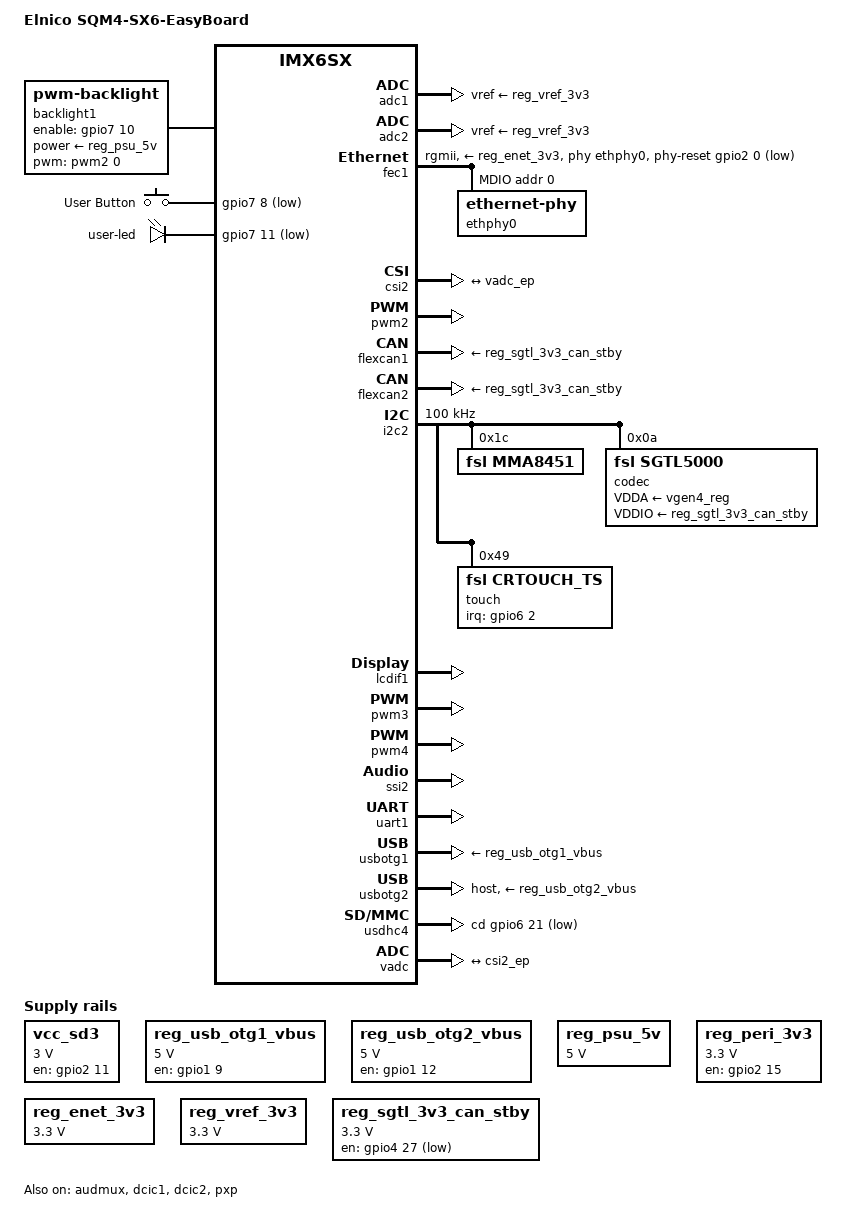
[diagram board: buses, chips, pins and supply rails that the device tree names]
/*
 * Copyright (C) 2014 Freescale Semiconductor, Inc.
 *
 * This program is free software; you can redistribute it and/or modify
 * it under the terms of the GNU General Public License version 2 as
 * published by the Free Software Foundation.
 */

#include "sqm4sx6.dtsi"

/ {
	model = "Elnico SQM4-SX6-EasyBoard";
	compatible = "eln,sqm4sx6-eb", "eln,sqm4sx6", "fsl,imx6sx";

	chosen {
		stdout-path = &uart1;
	};

	backlight1 {
		compatible = "pwm-backlight";
		pwms = <&pwm2 0 5000000>;
		brightness-levels = <0 4 8 16 32 64 128 255>;
		default-brightness-level = <7>;
		power-supply = <&reg_psu_5v>;
		enable-gpios = <&gpio7 10 GPIO_ACTIVE_HIGH>;
	};

	gpio-keys {
		compatible = "gpio-keys";
		pinctrl-names = "default";
		pinctrl-0 = <&pinctrl_gpio_keys>;

		user-button {
			label = "User Button";
			gpios = <&gpio7 8 GPIO_ACTIVE_LOW>;
			linux,code = <KEY_MENU>;
		};
	};

	gpio-leds {
		compatible = "gpio-leds";
		pinctrl-names = "default";
		pinctrl-0 = <&pinctrl_leds>;

		user-led {
			gpios = <&gpio7 11 GPIO_ACTIVE_LOW>;
			linux,default-trigger = "heartbeat";
		};
	};

	regulators {
		compatible = "simple-bus";
		#address-cells = <1>;
		#size-cells = <0>;

		vcc_sd3: regulator@0 {
			compatible = "regulator-fixed";
			reg = <0>;
			pinctrl-names = "default";
			pinctrl-0 = <&pinctrl_vcc_sd3>;
			regulator-name = "VCC_SD3";
			regulator-min-microvolt = <3000000>;
			regulator-max-microvolt = <3000000>;
			gpio = <&gpio2 11 GPIO_ACTIVE_HIGH>;
			enable-active-high;
		};

		reg_usb_otg1_vbus: regulator@1 {
			compatible = "regulator-fixed";
			reg = <1>;
			pinctrl-names = "default";
			pinctrl-0 = <&pinctrl_usb_otg1>;
			regulator-name = "usb_otg1_vbus";
			regulator-min-microvolt = <5000000>;
			regulator-max-microvolt = <5000000>;
			gpio = <&gpio1 9 GPIO_ACTIVE_HIGH>;
			enable-active-high;
		};

		reg_usb_otg2_vbus: regulator@2 {
			compatible = "regulator-fixed";
			reg = <2>;
			pinctrl-names = "default";
			pinctrl-0 = <&pinctrl_usb_otg2>;
			regulator-name = "usb_otg2_vbus";
			regulator-min-microvolt = <5000000>;
			regulator-max-microvolt = <5000000>;
			gpio = <&gpio1 12 GPIO_ACTIVE_HIGH>;
			enable-active-high;
		};

		reg_psu_5v: regulator@3 {
			compatible = "regulator-fixed";
			reg = <3>;
			regulator-name = "PSU-5V0";
			regulator-min-microvolt = <5000000>;
			regulator-max-microvolt = <5000000>;
		};

		reg_lcd_3v3: regulator@4 {
			compatible = "regulator-fixed";
			reg = <4>;
			regulator-name = "lcd-3v3";
			gpio = <&gpio3 27 0>;
			enable-active-high;
			status = "disabled";
		};

		reg_peri_3v3: regulator@5 {
			compatible = "regulator-fixed";
			reg = <5>;
			pinctrl-names = "default";
			pinctrl-0 = <&pinctrl_peri_3v3>;
			regulator-name = "peri_3v3";
			regulator-min-microvolt = <3300000>;
			regulator-max-microvolt = <3300000>;
			gpios = <&gpio2 15 GPIO_ACTIVE_HIGH>;
			enable-active-high;
			regulator-always-on;
		};

		reg_enet_3v3: regulator@6 {
			compatible = "regulator-fixed";
			reg = <6>;
			regulator-name = "enet_3v3";
			regulator-min-microvolt = <3300000>;
			regulator-max-microvolt = <3300000>;
		};

		reg_vref_3v3: regulator@7 {
			compatible = "regulator-fixed";
			reg = <7>;
			regulator-name = "vref-3v3";
			regulator-min-microvolt = <3300000>;
			regulator-max-microvolt = <3300000>;
		};

		reg_sgtl_3v3_can_stby: regulator@9 {
			compatible = "regulator-fixed";
			reg = <9>;
			regulator-name = "sgtl-3v3-can-stby";
			regulator-min-microvolt = <3300000>;
			regulator-max-microvolt = <3300000>;
			pinctrl-names = "default";
			pinctrl-0 = <&pinctrl_sgtl_3v3_can_stby>;
			gpio = <&gpio4 27 GPIO_ACTIVE_LOW>;
			regulator-boot-on;
		};
	};

	sound {
		compatible = "eln,sqm4sx6-eb-sgtl5000",
			   "fsl,imx-audio-sgtl5000";
		model = "sqm4sx6-eb-sgtl5000";
		ssi-controller = <&ssi2>;
		audio-codec = <&codec>;
		audio-routing =
			"MIC_IN", "Mic Bias",
			"LINE_IN", "Line In Jack",
			"Line Out Jack", "LINE_OUT",
			"Ext Spk", "LINE_OUT",
			"Headphone Jack", "HP_OUT";
		mux-int-port = <2>;
		mux-ext-port = <6>;
	};

	pxp_v4l2_out {
		compatible = "fsl,imx6sx-pxp-v4l2", "fsl,imx6sl-pxp-v4l2";
		status = "okay";
	};
};

&adc1 {
	vref-supply = <&reg_vref_3v3>;
	status = "okay";
};

&adc2 {
	vref-supply = <&reg_vref_3v3>;
	status = "okay";
};

&audmux {
	pinctrl-names = "default";
	pinctrl-0 = <&pinctrl_audmux>;
	status = "okay";
};

&gpc {
	fsl,ldo-bypass = <1>;
};

&fec1 {
	pinctrl-names = "default";
	pinctrl-0 = <&pinctrl_enet1>;
	phy-supply = <&reg_enet_3v3>;
	phy-mode = "rgmii";
	phy-handle = <&ethphy0>;
	phy-reset-gpios = <&gpio2 0 GPIO_ACTIVE_LOW>;
	status = "okay";

	mdio {
		#address-cells = <1>;
		#size-cells = <0>;

		ethphy0: ethernet-phy@0 {
			reg = <0>;
		};

/*		ethphy1: ethernet-phy@1 {
			reg = <1>;
		};*/
	};
};

&fec2 {
	pinctrl-names = "default";
	pinctrl-0 = <&pinctrl_enet2>;
	phy-supply = <&reg_enet_3v3>;
	phy-mode = "rgmii";
	phy-handle = <&ethphy1>;
	phy-reset-gpios = <&gpio2 1 GPIO_ACTIVE_LOW>;
	status = "disabled";

	mdio {
		#address-cells = <1>;
		#size-cells = <0>;

/*		ethphy0: ethernet-phy@0 {
			reg = <0>;
		};*/

		ethphy1: ethernet-phy@1 {
			reg = <1>;
		};
	};
};

&csi2 {
	status = "okay";
	port {
		csi2_ep: endpoint {
			remote-endpoint = <&vadc_ep>;
		};
	};
};

&pwm2 {
	pinctrl-names = "default";
	pinctrl-0 = <&pinctrl_pwm2>;
	status = "okay";
};

&dcic1 {
	dcic_id = <0>;
	dcic_mux = "dcic-lcdif1";
	status = "okay";
};

&dcic2 {
	dcic_id = <1>;
	dcic_mux = "dcic-lvds";
	status = "okay";
};

&pxp {
	status = "okay";
};

&flexcan1 {
	pinctrl-names = "default";
	pinctrl-0 = <&pinctrl_flexcan1>;
	xceiver-supply = <&reg_sgtl_3v3_can_stby>;
	status = "okay";
};

&flexcan2 {
	pinctrl-names = "default";
	pinctrl-0 = <&pinctrl_flexcan2>;
	xceiver-supply = <&reg_sgtl_3v3_can_stby>;
	status = "okay";
};

&i2c2 {
	clock-frequency = <100000>;
	pinctrl-names = "default";
	pinctrl-0 = <&pinctrl_i2c2>;
	status = "okay";

	mma8451@1c {
		compatible = "fsl,mma8451";
		reg = <0x1c>;
		position = <1>;
	};

	codec: sgtl5000@0a {
		compatible = "fsl,sgtl5000";
		reg = <0x0a>;
		clocks = <&clks IMX6SX_CLK_AUDIO>;
		VDDA-supply = <&vgen4_reg>;
		VDDIO-supply = <&reg_sgtl_3v3_can_stby>;
	};

	touch: crtouch@49 {
		compatible = "fsl,crtouch_ts";
		reg = <0x49>;
		pinctrl-names = "default";
		pinctrl-0 = <&pinctrl_crtouch>;
		interrupt-parent = <&gpio6>;
		interrupts = <2 IRQ_TYPE_EDGE_FALLING>;
	};
};

&lcdif1 {
	pinctrl-names = "default";
	pinctrl-0 = <&pinctrl_lcd>;
	lcd-supply = <&reg_lcd_3v3>;
	display = <&display0>;
	status = "okay";

	display0: display {
		bits-per-pixel = <16>;
		bus-width = <24>;

		display-timings {
			native-mode = <&timing0>;
			timing0: timing0 {
				clock-frequency = <33500000>;
				hactive = <480>;
				vactive = <272>;
				hback-porch = <2>;
				hfront-porch = <2>;
				vback-porch = <1>;
				vfront-porch = <1>;
				hsync-len = <41>;
				vsync-len = <2>;
				hsync-active = <1>;
				vsync-active = <1>;
				de-active = <1>;
				pixelclk-active = <0>;
				interlaced = <0>;
			};
		};
	};
};

&pwm3 {
	pinctrl-names = "default";
	pinctrl-0 = <&pinctrl_pwm3>;
	status = "okay";
};

&pwm4 {
	pinctrl-names = "default";
	pinctrl-0 = <&pinctrl_pwm4>;
	status = "okay";
};

&snvs_poweroff {
	status = "okay";
};

&ssi2 {
	status = "okay";
};

&uart1 {
	pinctrl-names = "default";
	pinctrl-0 = <&pinctrl_uart1>;
	status = "okay";
};

&usbotg1 {
	vbus-supply = <&reg_usb_otg1_vbus>;
	pinctrl-names = "default";
	pinctrl-0 = <&pinctrl_usb_otg1_id>;
	srp-disable;
	hnp-disable;
	adp-disable;
	status = "okay";
};

&usbotg2 {
	vbus-supply = <&reg_usb_otg2_vbus>;
	dr_mode = "host";
	status = "okay";
};

&usbphy1 {
	tx-d-cal = <0x5>;	// Signal quality calibration
};

&usbphy2 {
	tx-d-cal = <0x5>;	// Signal quality calibration
};

&usdhc4 {
	pinctrl-names = "default";
	pinctrl-0 = <&pinctrl_usdhc4_4>;
	cd-gpios = <&gpio6 21 GPIO_ACTIVE_LOW>;
	status = "okay";
};

&vadc {
	vadc_in = <0>;
	csi_id = <1>;
	status = "okay";
	port {
		vadc_ep: endpoint {
			remote-endpoint = <&csi2_ep>;
		};
	};
};

&iomuxc {
	sqm4sx6-eb {
		pinctrl_leds: ledgrp {
			fsl,pins = <
				MX6SX_PAD_USB_H_STROBE__GPIO7_IO_11	0x10038 // USER LED
			>;
		};

		pinctrl_gpio_keys: gpio_keysgrp {
			fsl,pins = <
				MX6SX_PAD_SD3_DATA6__GPIO7_IO_8		0x17059 // USER BUTTON
			>;
		};

		pinctrl_sgtl_3v3_can_stby: sgtl3v3canstbygrp {
			fsl,pins = <
				MX6SX_PAD_QSPI1B_DATA3__GPIO4_IO_27	0x10038 // RIM19/STBY
			>;
		};

		pinctrl_crtouch: crtouchgrp {
			fsl,pins = <
				MX6SX_PAD_SD1_DATA0__GPIO6_IO_2		0x17059 // RIM4/CAPTURE1
			>;
		};
	};
};
